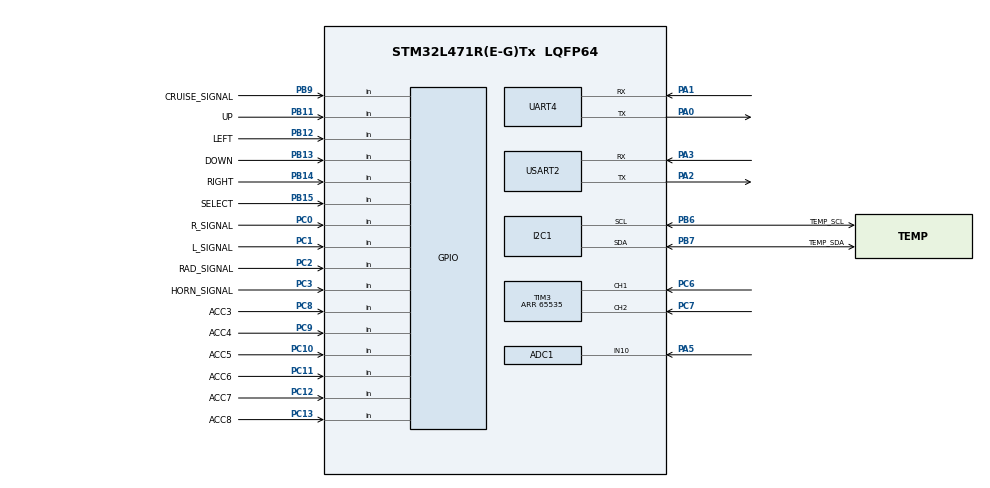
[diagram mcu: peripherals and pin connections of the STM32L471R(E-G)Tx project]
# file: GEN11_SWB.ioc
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ADC1.Channel-1\#ChannelRegularConversion=ADC_CHANNEL_10
ADC1.NbrOfConversionFlag=1
ADC1.OffsetNumber-1\#ChannelRegularConversion=ADC_OFFSET_NONE
ADC1.Rank-1\#ChannelRegularConversion=1
ADC1.Resolution=ADC_RESOLUTION_8B
ADC1.SamplingTime-1\#ChannelRegularConversion=ADC_SAMPLETIME_2CYCLES_5
ADC1.master=1
Mcu.Family=STM32L4
Mcu.Name=STM32L471R(E-G)Tx
Mcu.Package=LQFP64
NVIC.PriorityGroup=NVIC_PRIORITYGROUP_4
NVIC.TIM6_DAC_IRQn=true\:15\:0\:false\:false\:true\:false\:true\:true
NVIC.TimeBase=TIM6_DAC_IRQn
NVIC.TimeBaseIP=TIM6
PA0.Mode=Asynchronous
PA0.Signal=UART4_TX
PA1.Mode=Asynchronous
PA1.Signal=UART4_RX
PA13\ (JTMS-SWDIO).Mode=Serial_Wire
PA13\ (JTMS-SWDIO).Signal=SYS_JTMS-SWDIO
PA14\ (JTCK-SWCLK).Mode=Serial_Wire
PA14\ (JTCK-SWCLK).Signal=SYS_JTCK-SWCLK
PA2.Mode=Asynchronous
PA2.Signal=USART2_TX
PA3.Mode=Asynchronous
PA3.Signal=USART2_RX
PA5.Signal=ADCx_IN10
PB11.GPIO_Label=UP
PB11.Signal=GPIO_Input
PB12.GPIO_Label=LEFT
PB12.Signal=GPIO_Input
PB13.GPIO_Label=DOWN
PB13.Signal=GPIO_Input
PB14.GPIO_Label=RIGHT
PB14.Signal=GPIO_Input
PB15.GPIO_Label=SELECT
PB15.Signal=GPIO_Input
PB6.GPIO_Label=TEMP_SCL
PB6.Mode=I2C
PB6.Signal=I2C1_SCL
PB7.GPIO_Label=TEMP_SDA
PB7.Mode=I2C
PB7.Signal=I2C1_SDA
PB9.GPIO_Label=CRUISE_SIGNAL
PB9.Signal=GPIO_Input
PC0.GPIO_Label=R_SIGNAL
PC0.Signal=GPIO_Input
PC1.GPIO_Label=L_SIGNAL
PC1.Signal=GPIO_Input
PC10.GPIO_Label=ACC5
PC10.Signal=GPIO_Input
PC11.GPIO_Label=ACC6
PC11.Signal=GPIO_Input
PC12.GPIO_Label=ACC7
PC12.Signal=GPIO_Input
PC13.GPIO_Label=ACC8
PC13.Signal=GPIO_Input
PC2.GPIO_Label=RAD_SIGNAL
PC2.Signal=GPIO_Input
PC3.GPIO_Label=HORN_SIGNAL
PC3.Signal=GPIO_Input
PC6.Signal=S_TIM3_CH1
PC7.Signal=S_TIM3_CH2
PC8.GPIO_Label=ACC3
PC8.Signal=GPIO_Input
PC9.GPIO_Label=ACC4
PC9.Signal=GPIO_Input
ProjectManager.HeapSize=0x200
ProjectManager.StackSize=0x400
ProjectManager.TargetToolchain=STM32CubeIDE
RCC.ADCFreq_Value=32000000
RCC.HSE_VALUE=8000000
RCC.HSI_VALUE=16000000
RCC.LSE_VALUE=32768
RCC.MSI_VALUE=4000000
RCC.PLLSAI1N=16
RCC.VCOOutputFreq_Value=32000000
SH.ADCx_IN10.0=ADC1_IN10,IN10-Single-Ended
SH.S_TIM3_CH1.0=TIM3_CH1,Encoder_Interface
SH.S_TIM3_CH2.0=TIM3_CH2,Encoder_Interface
TIM3.ClockDivision=TIM_CLOCKDIVISION_DIV1
TIM3.CounterMode=TIM_COUNTERMODE_UP
TIM3.EncoderMode=TIM_ENCODERMODE_TI12
TIM3.IC1Filter=10
TIM3.IC1Polarity=TIM_ICPOLARITY_FALLING
TIM3.IC2Filter=10
TIM3.IC2Polarity=TIM_ICPOLARITY_FALLING
TIM3.Period=65535
USART2.VirtualMode-Asynchronous=VM_ASYNC
VP_SYS_VS_tim6.Mode=TIM6
board=custom

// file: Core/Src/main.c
/* USER CODE BEGIN Header */
/**
  ******************************************************************************
  * @file           : main.c
  * @brief          : Main program body
  ******************************************************************************
  * @attention
  *
  * <h2><center>&copy; Copyright (c) 2022 STMicroelectronics.
  * All rights reserved.</center></h2>
  *
  * This software component is licensed by ST under BSD 3-Clause license,
  * the "License"; You may not use this file except in compliance with the
  * License. You may obtain a copy of the License at:
  *                        opensource.org/licenses/BSD-3-Clause
  *
  ******************************************************************************
  */
/* USER CODE END Header */
#include "main.h"

/* USER CODE BEGIN PD */
#define BSSR_SERIAL_START 0xa5
#define BSSR_SPB_SWB_ACK 0x77 //Acknowledge signal sent back from DCMB upon reception of data from SPB/SWB (77 is BSSR team number :D)
#define ADC_NUM_AVG 30.0 // Number of times to loop to get average ADC value
#define REGEN_IDLE_VAL 52.0
#define REGEN_MAX_VAL 115.0
#define REGEN_NEW_MAX 255
#define REGEN_OFFSET  19
#define REGEN_MULTIPLIER -63.75
//#define USE_ADC_REGEN
#define USE_ACC_ENC

/* USER CODE END PD */

ADC_HandleTypeDef hadc1;

I2C_HandleTypeDef hi2c1;

TIM_HandleTypeDef htim3;

UART_HandleTypeDef huart4;
UART_HandleTypeDef huart2;

/* USER CODE BEGIN PV */
uint16_t counter = 0;
uint16_t newAccelValue = 0;
//static int outputVal = 0;
/* USER CODE END PV */

void SystemClock_Config(void);
static void MX_GPIO_Init(void);
static void MX_I2C1_Init(void);
static void MX_UART4_Init(void);
static void MX_USART2_UART_Init(void);
static void MX_ADC1_Init(void);
static void MX_TIM3_Init(void);
/* USER CODE BEGIN PFP */
//static void switchStateTask(void const* pv);

uint8_t getSwitchState(uint8_t whichByte){
	uint8_t switchState[3] = {0, 0, 0};

	//-- BYTE 0 = [ACC8, ACC7, ACC6, ACC5, ACC4, ACC3, ACC2, ACC1] --//
	//Accelerator rotary encoder
	switch (whichByte){
	case 0:
//		//switchState[0] |= HAL_GPIO_ReadPin(GPIOC, ACC1_Pin) << 0;
//		//switchState[0] |= HAL_GPIO_ReadPin(GPIOC, ACC2_Pin) << 1;
//		switchState[0] |= HAL_GPIO_ReadPin(GPIOC, ACC3_Pin) << 2;
//		switchState[0] |= HAL_GPIO_ReadPin(GPIOC, ACC4_Pin) << 3;
//		switchState[0] |= HAL_GPIO_ReadPin(GPIOC, ACC5_Pin) << 4;
//		switchState[0] |= HAL_GPIO_ReadPin(GPIOC, ACC6_Pin) << 5;
//		switchState[0] |= HAL_GPIO_ReadPin(GPIOC, ACC7_Pin) << 6;
//		switchState[0] |= HAL_GPIO_ReadPin(GPIOC, ACC8_Pin) << 7;
//
//		//	switchState[0] = (switchState[0] & ~0b00000001) | (HAL_GPIO_ReadPin(GPIOC, ACC1_Pin) & 0b00000001); //Bit 0 - OK
//		//	switchState[0] = (switchState[0] & ~0b00000010) | ((HAL_GPIO_ReadPin(GPIOC, ACC2_Pin) << 1) & 0b00000010); //Bit 1 - OK
//		//	switchState[0] = (switchState[0] & ~0b00000100) | ((HAL_GPIO_ReadPin(GPIOC, ACC3_Pin) << 2) & 0b00000100); //Bit 2 - OK
//		//	switchState[0] = (switchState[0] & ~0b00001000) | ((HAL_GPIO_ReadPin(GPIOC, ACC4_Pin) << 3) & 0b00001000); //Bit 3 - OK
//		//	switchState[0] = (switchState[0] & ~0b00010000) | ((HAL_GPIO_ReadPin(GPIOC, ACC5_Pin) << 4) & 0b00010000); //Bit 4 - OK
//		//	switchState[0] = (switchState[0] & ~0b00100000) | ((HAL_GPIO_ReadPin(GPIOC, ACC6_Pin) << 5) & 0b00100000); //Bit 5 - OK
//		//	switchState[0] = (switchState[0] & ~0b01000000) | ((HAL_GPIO_ReadPin(GPIOC, ACC7_Pin) << 6) & 0b01000000); //Bit 6 - OK
//		//	switchState[0] = (switchState[0] & ~0b10000000) | ((HAL_GPIO_ReadPin(GPIOC, ACC8_Pin) << 7) & 0b10000000); //Bit 7 - OK
//		switchState[0] = ~switchState[0];
//		return switchState[0];

	case 1:
		//-- BYTE 1 = [x, x, x, CRUISE_SIGNAL_Pin, HORN_SIGNAL_Pin, RAD_SIGNAL_Pin, R_SIGNAL_Pin, L_SIGNAL_Pin] --//
		//Left/right turn signals
		switchState[1] |= HAL_GPIO_ReadPin(GPIOC, L_SIGNAL_Pin) << 0;
		switchState[1] |= HAL_GPIO_ReadPin(GPIOC, R_SIGNAL_Pin) << 1;

	//	switchState[1] = (switchState[1] & ~0b00000001) | (HAL_GPIO_ReadPin(GPIOC, L_SIGNAL_Pin) & 0b00000001); //Bit 0 - OK
	//	switchState[1] = (switchState[1] & ~0b00000010) | ((HAL_GPIO_ReadPin(GPIOC, R_SIGNAL_Pin) << 1) & 0b00000010); //Bit 1 - OK

		//Radio
		switchState[1] |= HAL_GPIO_ReadPin(GPIOC, RAD_SIGNAL_Pin) << 2;
	//	switchState[1] = (switchState[1] & ~0b00000100) | ((HAL_GPIO_ReadPin(GPIOC, RAD_SIGNAL_Pin) << 2) & 0b00000100); //Bit 2 - OK

		//Horn
		switchState[1] |= HAL_GPIO_ReadPin(GPIOC, HORN_SIGNAL_Pin) << 3;
	//	switchState[1] = (switchState[1] & ~0b00001000) | ((HAL_GPIO_ReadPin(GPIOC, HORN_SIGNAL_Pin) << 3) & 0b00001000); //Bit 3 - OK

		//Cruise control
		switchState[1] |= HAL_GPIO_ReadPin(GPIOB, CRUISE_SIGNAL_Pin) << 4;
	//	switchState[1] = (switchState[1] & ~0b00010000) | ((HAL_GPIO_ReadPin(GPIOB, CRUISE_SIGNAL_Pin) << 4) & 0b00010000); //Bit 4 - OK

		switchState[1] = ~switchState[1] & 0b00011111; //Make sure other bits are 0
		return switchState[1];

	case 2:
		//-- BYTE 1 = [x, x, x, SELECT_Pin, RIGHT_Pin, LEFT_Pin, DOWN_Pin, UP_Pin] --//
		//Navigation
		switchState[2] |= HAL_GPIO_ReadPin(GPIOB, UP_Pin) << 0;
		switchState[2] |= HAL_GPIO_ReadPin(GPIOB, DOWN_Pin) << 1;
		switchState[2] |= HAL_GPIO_ReadPin(GPIOB, LEFT_Pin) << 2;
		switchState[2] |= HAL_GPIO_ReadPin(GPIOB, RIGHT_Pin) << 3;
		switchState[2] |= HAL_GPIO_ReadPin(GPIOB, SELECT_Pin) << 4;

	//	switchState[2] = (switchState[2] & ~0b00000001) | (HAL_GPIO_ReadPin(GPIOB, UP_Pin) & 0b00000001); //Bit 0 - OK
	//	switchState[2] = (switchState[2] & ~0b00000010) | ((HAL_GPIO_ReadPin(GPIOB, DOWN_Pin) << 1) & 0b00000010); //Bit 1 - OK
	//	switchState[2] = (switchState[2] & ~0b00000100) | ((HAL_GPIO_ReadPin(GPIOB, LEFT_Pin) << 2) & 0b00000100); //Bit 2 - OK
	//	switchState[2] = (switchState[2] & ~0b00001000) | ((HAL_GPIO_ReadPin(GPIOB, RIGHT_Pin) << 3) & 0b00001000); //Bit 3 - OK
	//	switchState[2] = (switchState[2] & ~0b00010000) | ((HAL_GPIO_ReadPin(GPIOB, SELECT_Pin) << 4) & 0b00010000); //Bit 4 - OK

		switchState[2] = ~switchState[2] & 0b00011111; //Make sure other bits are 0
		return switchState[2];
	}
}
/* USER CODE END PFP */

int main(void)
{

  /* MCU Configuration--------------------------------------------------------*/

  /* Reset of all peripherals, Initializes the Flash interface and the Systick. */
  HAL_Init();

  /* Configure the system clock */
  SystemClock_Config();

  /* Initialize all configured peripherals */
  MX_GPIO_Init();
  MX_I2C1_Init();
  MX_UART4_Init();
  MX_USART2_UART_Init();
  MX_ADC1_Init();
  MX_TIM3_Init();
  /* USER CODE BEGIN 2 */

  HAL_TIM_Encoder_Start(&htim3, TIM_CHANNEL_ALL);
  uint8_t oldSwitchState[3] = {0, 0, 0};
  uint8_t newSwitchState[3] = {0, 0, 0};
  uint8_t oldRegenValue = 0;
  uint16_t oldAccelValue = 0;

	uint16_t counterMaxValue = 0xFFFF; // 65535
	uint8_t maxAcc = 255;
	uint16_t maxAllowedTurnCount = 5000;

  /* USER CODE END 2 */

  /* Infinite loop */
  while (1){

    /* USER CODE BEGIN 3 */
	//newSwitchState[0] = getSwitchState(0);
	newSwitchState[1] = getSwitchState(1);
	newSwitchState[2] = getSwitchState(2);
	uint8_t newRegenValue = 0;
	//uint8_t newAccelValue = 0;

	float regenTotalReading = 0;

	#ifdef USE_ADC_REGEN
		for (int i = 0; i < ADC_NUM_AVG; i++){
			HAL_ADC_Start(&hadc1);
			if (HAL_ADC_PollForConversion(&hadc1, 100) == HAL_OK){
				float currRegenValue = HAL_ADC_GetValue(&hadc1);
				regenTotalReading += currRegenValue;
			}
		}

		newRegenValue = ((uint8_t)(regenTotalReading/ADC_NUM_AVG) - REGEN_OFFSET) * (REGEN_MULTIPLIER);
	#endif

	#ifdef USE_ACC_ENC
		counter = (TIM3->CNT);
		newAccelValue = counter;
		// compute the difference between the current and previous value.
		int diff = newAccelValue - oldAccelValue;
		uint8_t accelNegativeDiff = 0;
		uint8_t accelPositiveDiff = 0;
		if (diff > 0 && diff <= maxAllowedTurnCount){
			// increment detected
			accelNegativeDiff = 0;
			if (diff < maxAcc) {
				accelPositiveDiff = diff;
			} else {
				accelPositiveDiff = maxAcc;
			}
		} else if (diff > 0 && diff > maxAllowedTurnCount) {
			// decrement detected, with value wrapping around
			accelPositiveDiff = 0;
			int actualDiff = oldAccelValue + counterMaxValue - newAccelValue + 1;
			if (actualDiff < maxAcc) {
				accelNegativeDiff = actualDiff;
			} else {
				accelNegativeDiff = maxAcc;
			}
		} else if (diff < 0 && (-diff) <= maxAllowedTurnCount) {
			// decrement detected
			accelPositiveDiff = 0;
			if ((-diff) < maxAcc) {
				accelNegativeDiff = -diff;
			} else {
				accelNegativeDiff = maxAcc;
			}
		} else if (diff < 0 && (-diff) > maxAllowedTurnCount){
			// increment detected, with value wrapping around
			accelNegativeDiff = 0;
			int actualDiff = counterMaxValue - oldAccelValue + newAccelValue + 1;
			if (actualDiff < maxAcc) {
				accelPositiveDiff = actualDiff;
			} else {
				accelPositiveDiff = maxAcc;
			}
		} else {
			accelNegativeDiff = 0;
			accelPositiveDiff = 0;
		}
		// note that counter wraps around at 65535 as it is 16-bit

//		if (counter>255){
//			newAccelValue = 255;
//		}
//		else if (counter<0){
//			newAccelValue = 0;
//		}
//		else{
//			newAccelValue = counter;
//		}
	#endif

	if ((oldSwitchState[1] != newSwitchState[1]) || (oldSwitchState[2] != newSwitchState[2]) || (oldRegenValue != newRegenValue) || (oldAccelValue != newAccelValue)){ //If any bit has changed, send data

		//Map regen range from 52-115 to 0-255
		uint8_t mappedRegenValue = 0;

		#ifdef USE_ADC_REGEN
				if (newRegenValue > REGEN_IDLE_VAL){
					if (newRegenValue >= REGEN_MAX_VAL){
						mappedRegenValue = REGEN_NEW_MAX;
					} else {
						float mappingRatio = (newRegenValue - REGEN_IDLE_VAL)/(REGEN_MAX_VAL - REGEN_IDLE_VAL);
						mappedRegenValue = (uint8_t)(mappingRatio * REGEN_NEW_MAX);
					}
				}
		#endif

//		#ifdef USE_ACC_ENC
//			static uint8_t started = 0;
//			static int currentValue = 0;
//			int positiveTurn = 0;
//			int negativeTurn = 0;
//			int difference = 0;
//			//static int outputVal = 0;
//			int accValTemp = newAccelValue == 255 ? currentValue : newAccelValue;
//			if(!started){
//				started++;
//				currentValue = accValTemp;
//			} else{
//				positiveTurn = (currentValue + 63) % 128;
//				negativeTurn = (currentValue - 64) % 128;
//				if(positiveTurn > currentValue){
//					if(accValTemp <= positiveTurn && accValTemp >= currentValue){
//						difference = accValTemp - currentValue;
//					} else {
//						if(accValTemp < currentValue){
//							difference = accValTemp - currentValue;
//						} else {
//							difference = -(128 -(accValTemp - currentValue));
//						}
//					}
//				} else {
//					if(accValTemp <= currentValue && accValTemp >= negativeTurn){
//						difference = -(currentValue - accValTemp);
//					} else {
//						if(currentValue < accValTemp){
//							difference = accValTemp - currentValue;
//						} else {
//							difference = 128 - (currentValue - accValTemp);
//						}
//					}
//				}
//				difference = difference < 0 ? -difference * difference : difference * difference;
//				outputVal += difference;
//		//		sprintf(buf2, "c=%d,w=%d,d=%d,o=%d\r\n", currentValue, accValTemp, difference, outputVal);
//				currentValue = accValTemp;
//				if(outputVal < 0){
//					outputVal = 0;
//				} else if (outputVal > 255){
//					outputVal = 255;
//				}
//			}
//		#endif

		uint8_t buf[8] = {BSSR_SERIAL_START, 0x03, newSwitchState[0], newSwitchState[1], newSwitchState[2], mappedRegenValue, accelPositiveDiff, accelNegativeDiff}; // last byte could be used for CRC (optional)
		uint8_t rx_buf[2];

		//do { //Keep sending data until acknowledge is received from DCMB
			HAL_UART_Transmit(&huart2, buf, sizeof(buf), 100); //To DCMB
			HAL_UART_Transmit(&huart4, buf, sizeof(buf), 100); //To debug
//			HAL_UART_Receive(&huart2, rx_buf, sizeof(rx_buf), 100);
			HAL_Delay(1);
			// Test ==============
//			char ary[20] = "hello world";
//			HAL_UART_Transmit(&huart2, ary, strlen(ary), 1000);
		//} while (rx_buf[1] != BSSR_SPB_SWB_ACK);
	}

	//Update switch state
	for (int i = 0; i < 3; i++){ oldSwitchState[i] = newSwitchState[i];}
	oldRegenValue = newRegenValue;
	oldAccelValue = newAccelValue;

	HAL_Delay(50); //Wait for 50ms; could be replaced with power down sleep
  }
  /* USER CODE END 3 */
}

void SystemClock_Config(void)
{
  RCC_OscInitTypeDef RCC_OscInitStruct = {0};
  RCC_ClkInitTypeDef RCC_ClkInitStruct = {0};

  /** Configure the main internal regulator output voltage
  */
  if (HAL_PWREx_ControlVoltageScaling(PWR_REGULATOR_VOLTAGE_SCALE1) != HAL_OK)
  {
    Error_Handler();
  }

  /** Initializes the RCC Oscillators according to the specified parameters
  * in the RCC_OscInitTypeDef structure.
  */
  RCC_OscInitStruct.OscillatorType = RCC_OSCILLATORTYPE_MSI;
  RCC_OscInitStruct.MSIState = RCC_MSI_ON;
  RCC_OscInitStruct.MSICalibrationValue = 0;
  RCC_OscInitStruct.MSIClockRange = RCC_MSIRANGE_6;
  RCC_OscInitStruct.PLL.PLLState = RCC_PLL_NONE;
  if (HAL_RCC_OscConfig(&RCC_OscInitStruct) != HAL_OK)
  {
    Error_Handler();
  }

  /** Initializes the CPU, AHB and APB buses clocks
  */
  RCC_ClkInitStruct.ClockType = RCC_CLOCKTYPE_HCLK|RCC_CLOCKTYPE_SYSCLK
                              |RCC_CLOCKTYPE_PCLK1|RCC_CLOCKTYPE_PCLK2;
  RCC_ClkInitStruct.SYSCLKSource = RCC_SYSCLKSOURCE_MSI;
  RCC_ClkInitStruct.AHBCLKDivider = RCC_SYSCLK_DIV1;
  RCC_ClkInitStruct.APB1CLKDivider = RCC_HCLK_DIV1;
  RCC_ClkInitStruct.APB2CLKDivider = RCC_HCLK_DIV1;

  if (HAL_RCC_ClockConfig(&RCC_ClkInitStruct, FLASH_LATENCY_0) != HAL_OK)
  {
    Error_Handler();
  }
}

static void MX_ADC1_Init(void)
{

  ADC_MultiModeTypeDef multimode = {0};
  ADC_ChannelConfTypeDef sConfig = {0};

  /** Common config
  */
  hadc1.Instance = ADC1;
  hadc1.Init.ClockPrescaler = ADC_CLOCK_ASYNC_DIV1;
  hadc1.Init.Resolution = ADC_RESOLUTION_8B;
  hadc1.Init.DataAlign = ADC_DATAALIGN_RIGHT;
  hadc1.Init.ScanConvMode = ADC_SCAN_DISABLE;
  hadc1.Init.EOCSelection = ADC_EOC_SINGLE_CONV;
  hadc1.Init.LowPowerAutoWait = DISABLE;
  hadc1.Init.ContinuousConvMode = DISABLE;
  hadc1.Init.NbrOfConversion = 1;
  hadc1.Init.DiscontinuousConvMode = DISABLE;
  hadc1.Init.ExternalTrigConv = ADC_SOFTWARE_START;
  hadc1.Init.ExternalTrigConvEdge = ADC_EXTERNALTRIGCONVEDGE_NONE;
  hadc1.Init.DMAContinuousRequests = DISABLE;
  hadc1.Init.Overrun = ADC_OVR_DATA_PRESERVED;
  hadc1.Init.OversamplingMode = DISABLE;
  if (HAL_ADC_Init(&hadc1) != HAL_OK)
  {
    Error_Handler();
  }

  /** Configure the ADC multi-mode
  */
  multimode.Mode = ADC_MODE_INDEPENDENT;
  if (HAL_ADCEx_MultiModeConfigChannel(&hadc1, &multimode) != HAL_OK)
  {
    Error_Handler();
  }

  /** Configure Regular Channel
  */
  sConfig.Channel = ADC_CHANNEL_10;
  sConfig.Rank = ADC_REGULAR_RANK_1;
  sConfig.SamplingTime = ADC_SAMPLETIME_2CYCLES_5;
  sConfig.SingleDiff = ADC_SINGLE_ENDED;
  sConfig.OffsetNumber = ADC_OFFSET_NONE;
  sConfig.Offset = 0;
  if (HAL_ADC_ConfigChannel(&hadc1, &sConfig) != HAL_OK)
  {
    Error_Handler();
  }

}

static void MX_I2C1_Init(void)
{

  hi2c1.Instance = I2C1;
  hi2c1.Init.Timing = 0x00000E14;
  hi2c1.Init.OwnAddress1 = 0;
  hi2c1.Init.AddressingMode = I2C_ADDRESSINGMODE_7BIT;
  hi2c1.Init.DualAddressMode = I2C_DUALADDRESS_DISABLE;
  hi2c1.Init.OwnAddress2 = 0;
  hi2c1.Init.OwnAddress2Masks = I2C_OA2_NOMASK;
  hi2c1.Init.GeneralCallMode = I2C_GENERALCALL_DISABLE;
  hi2c1.Init.NoStretchMode = I2C_NOSTRETCH_DISABLE;
  if (HAL_I2C_Init(&hi2c1) != HAL_OK)
  {
    Error_Handler();
  }

  /** Configure Analogue filter
  */
  if (HAL_I2CEx_ConfigAnalogFilter(&hi2c1, I2C_ANALOGFILTER_ENABLE) != HAL_OK)
  {
    Error_Handler();
  }

  /** Configure Digital filter
  */
  if (HAL_I2CEx_ConfigDigitalFilter(&hi2c1, 0) != HAL_OK)
  {
    Error_Handler();
  }

}

static void MX_TIM3_Init(void)
{

  TIM_Encoder_InitTypeDef sConfig = {0};
  TIM_MasterConfigTypeDef sMasterConfig = {0};

  htim3.Instance = TIM3;
  htim3.Init.Prescaler = 0;
  htim3.Init.CounterMode = TIM_COUNTERMODE_UP;
  htim3.Init.Period = 65535;
  htim3.Init.ClockDivision = TIM_CLOCKDIVISION_DIV1;
  htim3.Init.AutoReloadPreload = TIM_AUTORELOAD_PRELOAD_DISABLE;
  sConfig.EncoderMode = TIM_ENCODERMODE_TI12;
  sConfig.IC1Polarity = TIM_ICPOLARITY_FALLING;
  sConfig.IC1Selection = TIM_ICSELECTION_DIRECTTI;
  sConfig.IC1Prescaler = TIM_ICPSC_DIV1;
  sConfig.IC1Filter = 10;
  sConfig.IC2Polarity = TIM_ICPOLARITY_FALLING;
  sConfig.IC2Selection = TIM_ICSELECTION_DIRECTTI;
  sConfig.IC2Prescaler = TIM_ICPSC_DIV1;
  sConfig.IC2Filter = 10;
  if (HAL_TIM_Encoder_Init(&htim3, &sConfig) != HAL_OK)
  {
    Error_Handler();
  }
  sMasterConfig.MasterOutputTrigger = TIM_TRGO_RESET;
  sMasterConfig.MasterSlaveMode = TIM_MASTERSLAVEMODE_DISABLE;
  if (HAL_TIMEx_MasterConfigSynchronization(&htim3, &sMasterConfig) != HAL_OK)
  {
    Error_Handler();
  }

}

static void MX_UART4_Init(void)
{

  huart4.Instance = UART4;
  huart4.Init.BaudRate = 115200;
  huart4.Init.WordLength = UART_WORDLENGTH_8B;
  huart4.Init.StopBits = UART_STOPBITS_1;
  huart4.Init.Parity = UART_PARITY_NONE;
  huart4.Init.Mode = UART_MODE_TX_RX;
  huart4.Init.HwFlowCtl = UART_HWCONTROL_NONE;
  huart4.Init.OverSampling = UART_OVERSAMPLING_16;
  huart4.Init.OneBitSampling = UART_ONE_BIT_SAMPLE_DISABLE;
  huart4.AdvancedInit.AdvFeatureInit = UART_ADVFEATURE_NO_INIT;
  if (HAL_UART_Init(&huart4) != HAL_OK)
  {
    Error_Handler();
  }

}

static void MX_USART2_UART_Init(void)
{

  huart2.Instance = USART2;
  huart2.Init.BaudRate = 115200;
  huart2.Init.WordLength = UART_WORDLENGTH_8B;
  huart2.Init.StopBits = UART_STOPBITS_1;
  huart2.Init.Parity = UART_PARITY_NONE;
  huart2.Init.Mode = UART_MODE_TX_RX;
  huart2.Init.HwFlowCtl = UART_HWCONTROL_NONE;
  huart2.Init.OverSampling = UART_OVERSAMPLING_16;
  huart2.Init.OneBitSampling = UART_ONE_BIT_SAMPLE_DISABLE;
  huart2.AdvancedInit.AdvFeatureInit = UART_ADVFEATURE_NO_INIT;
  if (HAL_UART_Init(&huart2) != HAL_OK)
  {
    Error_Handler();
  }

}

static void MX_GPIO_Init(void)
{
  GPIO_InitTypeDef GPIO_InitStruct = {0};

  /* GPIO Ports Clock Enable */
  __HAL_RCC_GPIOC_CLK_ENABLE();
  __HAL_RCC_GPIOH_CLK_ENABLE();
  __HAL_RCC_GPIOA_CLK_ENABLE();
  __HAL_RCC_GPIOB_CLK_ENABLE();
  __HAL_RCC_GPIOD_CLK_ENABLE();

  /*Configure GPIO pins : ACC8_Pin R_SIGNAL_Pin L_SIGNAL_Pin RAD_SIGNAL_Pin
                           HORN_SIGNAL_Pin ACC3_Pin ACC4_Pin ACC5_Pin
                           ACC6_Pin ACC7_Pin */
  GPIO_InitStruct.Pin = ACC8_Pin|R_SIGNAL_Pin|L_SIGNAL_Pin|RAD_SIGNAL_Pin
                          |HORN_SIGNAL_Pin|ACC3_Pin|ACC4_Pin|ACC5_Pin
                          |ACC6_Pin|ACC7_Pin;
  GPIO_InitStruct.Mode = GPIO_MODE_INPUT;
  GPIO_InitStruct.Pull = GPIO_NOPULL;
  HAL_GPIO_Init(GPIOC, &GPIO_InitStruct);

  /*Configure GPIO pins : PC14 PC15 PC4 PC5 */
  GPIO_InitStruct.Pin = GPIO_PIN_14|GPIO_PIN_15|GPIO_PIN_4|GPIO_PIN_5;
  GPIO_InitStruct.Mode = GPIO_MODE_ANALOG;
  GPIO_InitStruct.Pull = GPIO_NOPULL;
  HAL_GPIO_Init(GPIOC, &GPIO_InitStruct);

  /*Configure GPIO pins : PH0 PH1 */
  GPIO_InitStruct.Pin = GPIO_PIN_0|GPIO_PIN_1;
  GPIO_InitStruct.Mode = GPIO_MODE_ANALOG;
  GPIO_InitStruct.Pull = GPIO_NOPULL;
  HAL_GPIO_Init(GPIOH, &GPIO_InitStruct);

  /*Configure GPIO pins : PA4 PA6 PA7 PA8
                           PA9 PA10 PA11 PA12
                           PA15 */
  GPIO_InitStruct.Pin = GPIO_PIN_4|GPIO_PIN_6|GPIO_PIN_7|GPIO_PIN_8
                          |GPIO_PIN_9|GPIO_PIN_10|GPIO_PIN_11|GPIO_PIN_12
                          |GPIO_PIN_15;
  GPIO_InitStruct.Mode = GPIO_MODE_ANALOG;
  GPIO_InitStruct.Pull = GPIO_NOPULL;
  HAL_GPIO_Init(GPIOA, &GPIO_InitStruct);

  /*Configure GPIO pins : PB0 PB1 PB2 PB10
                           PB3 PB4 PB5 PB8 */
  GPIO_InitStruct.Pin = GPIO_PIN_0|GPIO_PIN_1|GPIO_PIN_2|GPIO_PIN_10
                          |GPIO_PIN_3|GPIO_PIN_4|GPIO_PIN_5|GPIO_PIN_8;
  GPIO_InitStruct.Mode = GPIO_MODE_ANALOG;
  GPIO_InitStruct.Pull = GPIO_NOPULL;
  HAL_GPIO_Init(GPIOB, &GPIO_InitStruct);

  /*Configure GPIO pins : UP_Pin LEFT_Pin DOWN_Pin RIGHT_Pin
                           SELECT_Pin CRUISE_SIGNAL_Pin */
  GPIO_InitStruct.Pin = UP_Pin|LEFT_Pin|DOWN_Pin|RIGHT_Pin
                          |SELECT_Pin|CRUISE_SIGNAL_Pin;
  GPIO_InitStruct.Mode = GPIO_MODE_INPUT;
  GPIO_InitStruct.Pull = GPIO_NOPULL;
  HAL_GPIO_Init(GPIOB, &GPIO_InitStruct);

  /*Configure GPIO pin : PD2 */
  GPIO_InitStruct.Pin = GPIO_PIN_2;
  GPIO_InitStruct.Mode = GPIO_MODE_ANALOG;
  GPIO_InitStruct.Pull = GPIO_NOPULL;
  HAL_GPIO_Init(GPIOD, &GPIO_InitStruct);

}

/* USER CODE BEGIN 4 */
//static void switchStateTask(void const* pv){
//	GPIO_TypeDef* swPort1 = GPIOB; // SELECT, RIGHT, DOWN, LEFT, UP, CRUISE
//	GPIO_TypeDef* swPort2 = (GPIOC & 0xF); // HORN_SIGNAL, RAD_SIGNAL, L_SIGNAL, R_SIGNAL
//	GPIO_TypeDef* swPort3 = (GPIOC >> 4);  // ACC8, ACC7, ACC6, ACC5, ACC4, ACC3, ACC2, ACC1
//
//	#define uartFrame_SIZE 9
//	uint8_t uartFrame[uartFrame_SIZE] = {0xa5, 0x03, 0x00, 0x00, 0x00, 0x00, 0x00, 0x00, 0x00};
//
//	for(;;){
//		if(uartFrame[2] == ((swPort1->IDR >> 3) & 0xff) && uartFrame[3] == ((swPort2->IDR >> 10) & 0xff) && uartFrame[4] == ((swPort3->IDR >> 2) & 0xff)) continue;
//		uartFrame[2] = (swPort1->IDR) & 0xff;
//		uartFrame[3] = (swPort2->IDR) & 0xff;
//		uartFrame[4] = (swPort3->IDR) & 0xff;
//
//		uint32_t crc = ~HAL_CRC_Calculate(&hcrc, (uint32_t*) uartFrame, uartFrame_SIZE-4);
//		for(size_t i=0; i<4; i++) uartFrame[i+5] = (crc >> (i << 3)) & 0xff;
//		HAL_UART_Transmit_IT(&huart4, uartFrame, uartFrame_SIZE);
//		HAL_UART_Transmit_IT(&huart2, uartFrame, uartFrame_SIZE);
//		osDelay(1000);
//	}
//

/* USER CODE END 4 */

void HAL_TIM_PeriodElapsedCallback(TIM_HandleTypeDef *htim)
{
  /* USER CODE BEGIN Callback 0 */
//
  /* USER CODE END Callback 0 */
  if (htim->Instance == TIM6) {
    HAL_IncTick();
  }
  /* USER CODE BEGIN Callback 1 */
//
  /* USER CODE END Callback 1 */
}

void Error_Handler(void)
{
  __disable_irq();
  while (1)
  {
  }
}
